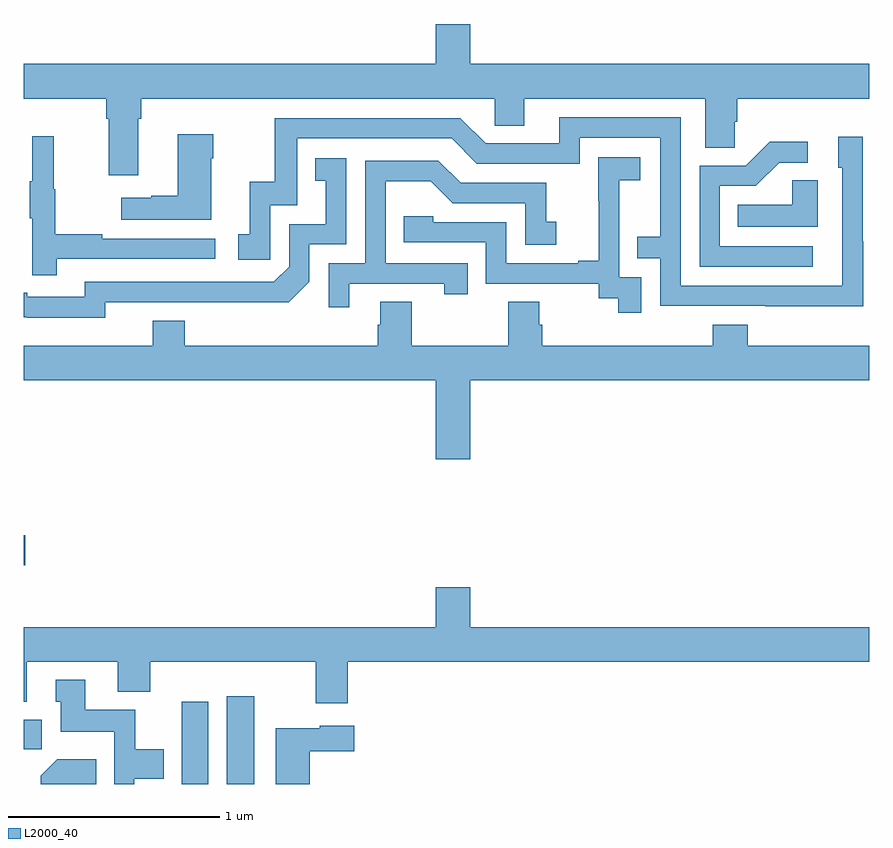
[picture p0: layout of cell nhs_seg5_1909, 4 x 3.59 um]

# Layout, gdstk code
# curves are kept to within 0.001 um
import gdstk
lib = gdstk.Library(unit=1e-6, precision=1e-09)
def R(c, l, rs):  # rectangles x0, y0, x1, y1
    for r in rs: c.add(gdstk.rectangle(r[:2], r[2:], *l))
def P(c, l, *ps):  # polygons
    for p in ps: c.add(gdstk.Polygon(p, *l))
L2000_40 = (2000, 40)

nhs_seg5_1909 = lib.new_cell('nhs_seg5_1909')
R(nhs_seg5_1909, L2000_40, [(223.748,906.799,223.873,907.189), (223.961,906.799,224.092,907.213), (223,906.964,223.087,907.102), (223,907.834,223.009,907.976)])
P(nhs_seg5_1909, L2000_40, [(223.543,909.944),(223.556,909.944),(223.556,910.04),(225.228,910.04),(225.228,909.913),(225.367,909.913),(225.367,910.04),(226.223,910.04),(226.223,909.808),(226.362,909.808),(226.362,909.931),(226.376,909.931),(226.376,910.04),(227,910.04),(227,910.204),(225.112,910.204),(225.112,910.393),(224.948,910.393),(224.948,910.204),(223,910.204),(223,910.04),(223.391,910.04),(223.391,909.944),(223.403,909.944),(223.403,909.678),(223.543,909.678)],
  [(226.971,909.365),(226.968,909.365),(226.968,909.859),(226.853,909.859),(226.853,909.714),(226.872,909.714),(226.872,909.156),(226.107,909.156),(226.107,909.951),(225.533,909.951),(225.533,909.828),(225.186,909.828),(225.066,909.948),(224.187,909.948),(224.187,909.646),(224.069,909.646),(224.069,909.399),(224.016,909.399),(224.016,909.279),(224.166,909.279),(224.166,909.537),(224.295,909.537),(224.295,909.852),(225.024,909.852),(225.144,909.732),(225.63,909.732),(225.63,909.855),(226.011,909.855),(226.011,909.386),(225.901,909.386),(225.901,909.285),(226.011,909.285),(226.011,909.06),(226.971,909.059)],
  [(223.888,909.758),(223.896,909.758),(223.896,909.871),(223.73,909.871),(223.73,909.581),(223.604,909.581),(223.604,909.571),(223.461,909.571),(223.461,909.467),(223.888,909.467)],
  [(223.157,909.282),(223.906,909.282),(223.906,909.378),(223.373,909.378),(223.373,909.398),(223.15,909.398),(223.15,909.612),(223.142,909.612),(223.142,909.862),(223.04,909.862),(223.04,909.649),(223.029,909.649),(223.029,909.475),(223.04,909.475),(223.04,909.204),(223.157,909.204)],
  [(226.732,909.342),(226.293,909.342),(226.293,909.627),(226.462,909.627),(226.573,909.738),(226.708,909.738),(226.708,909.836),(226.529,909.836),(226.416,909.723),(226.197,909.723),(226.197,909.246),(226.732,909.246)],
  [(225.921,909.195),(225.816,909.195),(225.816,909.425),(225.818,909.425),(225.818,909.653),(225.916,909.653),(225.916,909.763),(225.718,909.763),(225.718,909.557),(225.719,909.557),(225.719,909.274),(225.623,909.274),(225.623,909.261),(225.282,909.261),(225.282,909.456),(224.937,909.456),(224.937,909.483),(224.797,909.483),(224.797,909.36),(225.186,909.36),(225.186,909.165),(225.72,909.165),(225.72,909.097),(225.813,909.097),(225.813,909.027),(225.921,909.027)],
  [(223.386,909.078),(224.254,909.077),(224.352,909.174),(224.352,909.351),(224.526,909.351),(224.526,909.757),(224.38,909.757),(224.38,909.651),(224.429,909.651),(224.429,909.447),(224.256,909.447),(224.256,909.246),(224.184,909.174),(223.29,909.174),(223.29,909.102),(223.018,909.102),(223.018,909.122),(223,909.122),(223,909.006),(223.386,909.005)],
  [(224.539,909.165),(224.99,909.165),(224.99,909.114),(225.101,909.114),(225.101,909.261),(224.712,909.261),(224.712,909.65),(224.926,909.65),(225.03,909.546),(225.372,909.546),(225.372,909.348),(225.52,909.348),(225.52,909.457),(225.471,909.457),(225.471,909.642),(225.067,909.642),(224.962,909.747),(224.616,909.747),(224.616,909.261),(224.442,909.261),(224.442,909.054),(224.539,909.054)],
  [(226.756,909.653),(226.635,909.653),(226.635,909.538),(226.378,909.538),(226.378,909.434),(226.756,909.434)],
  [(225.112,908.708),(227,908.708),(227,908.872),(226.424,908.872),(226.424,908.971),(226.259,908.971),(226.259,908.872),(225.452,908.872),(225.452,908.97),(225.439,908.97),(225.439,909.08),(225.292,909.08),(225.292,908.872),(224.835,908.872),(224.835,909.08),(224.687,909.08),(224.687,908.97),(224.675,908.97),(224.675,908.872),(223.763,908.872),(223.763,908.989),(223.61,908.989),(223.61,908.872),(223,908.872),(223,908.708),(224.948,908.708),(224.948,908.334),(225.112,908.334)],
  [(224.534,907.376),(227,907.376),(227,907.54),(225.112,907.54),(225.112,907.729),(224.948,907.729),(224.948,907.54),(223,907.54),(223,907.187),(223.015,907.187),(223.015,907.376),(223.445,907.376),(223.445,907.235),(223.598,907.235),(223.598,907.376),(224.381,907.376),(224.381,907.182),(224.534,907.182)],
  [(223.524,906.824),(223.663,906.824),(223.663,906.964),(223.527,906.964),(223.527,907.15),(223.291,907.15),(223.291,907.291),(223.151,907.291),(223.151,907.188),(223.175,907.188),(223.175,907.046),(223.428,907.046),(223.428,906.799),(223.524,906.799)],
  [(224.354,906.953),(224.563,906.953),(224.563,907.075),(224.4,907.075),(224.4,907.063),(224.192,907.063),(224.192,906.799),(224.354,906.799)],
  [(223.343,906.916),(223.16,906.916),(223.082,906.838),(223.082,906.799),(223.343,906.799)])

lib.write_gds('nhs_seg5_1909.gds')
